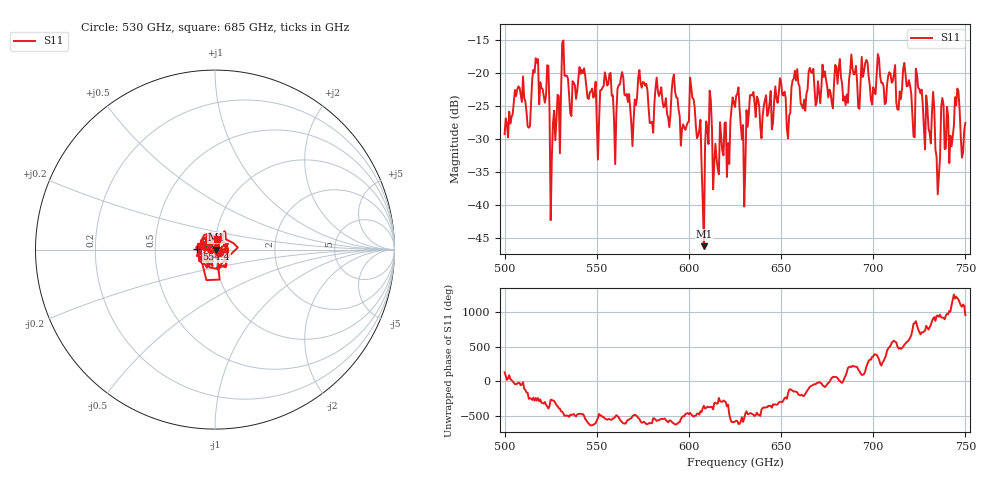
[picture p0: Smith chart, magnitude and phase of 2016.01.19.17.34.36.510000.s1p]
!Created with skrf (http://scikit-rf.org).
# GHz S RI R 50.0
!freq ReS11 ImS11
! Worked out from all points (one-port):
!   401 points, 500 GHz to 750 GHz, reference 50 ohm
!   lowest |S11| = -46.2 dB at 608.1 GHz (marker M1), VSWR 1.01, Z = 50.5 + j0.0271 ohm
!   |S11| at or under -10 dB: start of sweep to end of sweep
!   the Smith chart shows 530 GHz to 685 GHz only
!   S11 on the Smith chart (normalised r, x): 530 GHz: 1.04, -0.03; 554.4 GHz: 0.82, +0.00; 685 GHz: 1.01, +0.11
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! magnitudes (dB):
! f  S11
! 500 GHz  -29.2
! 506.9 GHz  -22.4
! 513.1 GHz  -28.2
! 516.9 GHz  -17.8
! 523.1 GHz  -18.8
! 526.2 GHz  -27.5
! 530 GHz  -32.1
! 531.2 GHz  -15.4
! 551.2 GHz  -27.2
! 554.4 GHz  -19.9
! 559.4 GHz  -27.1
! 562.5 GHz  -21.8
! 593.8 GHz  -23.7
! 601.9 GHz  -23.7
! 608.1 GHz  -46.2
! 610.6 GHz  -30.7
! 614.4 GHz  -30.7
! 625 GHz  -25.1
! 629.4 GHz  -27.9
! 634.4 GHz  -23.4
! 656.2 GHz  -21.1
! 685 GHz  -24.8
! 687.5 GHz  -19.7
! 718.8 GHz  -21.9
! 733.1 GHz  -25.4
! 735 GHz  -38.3
! 745.6 GHz  -22.3
! 750 GHz  -27.5
